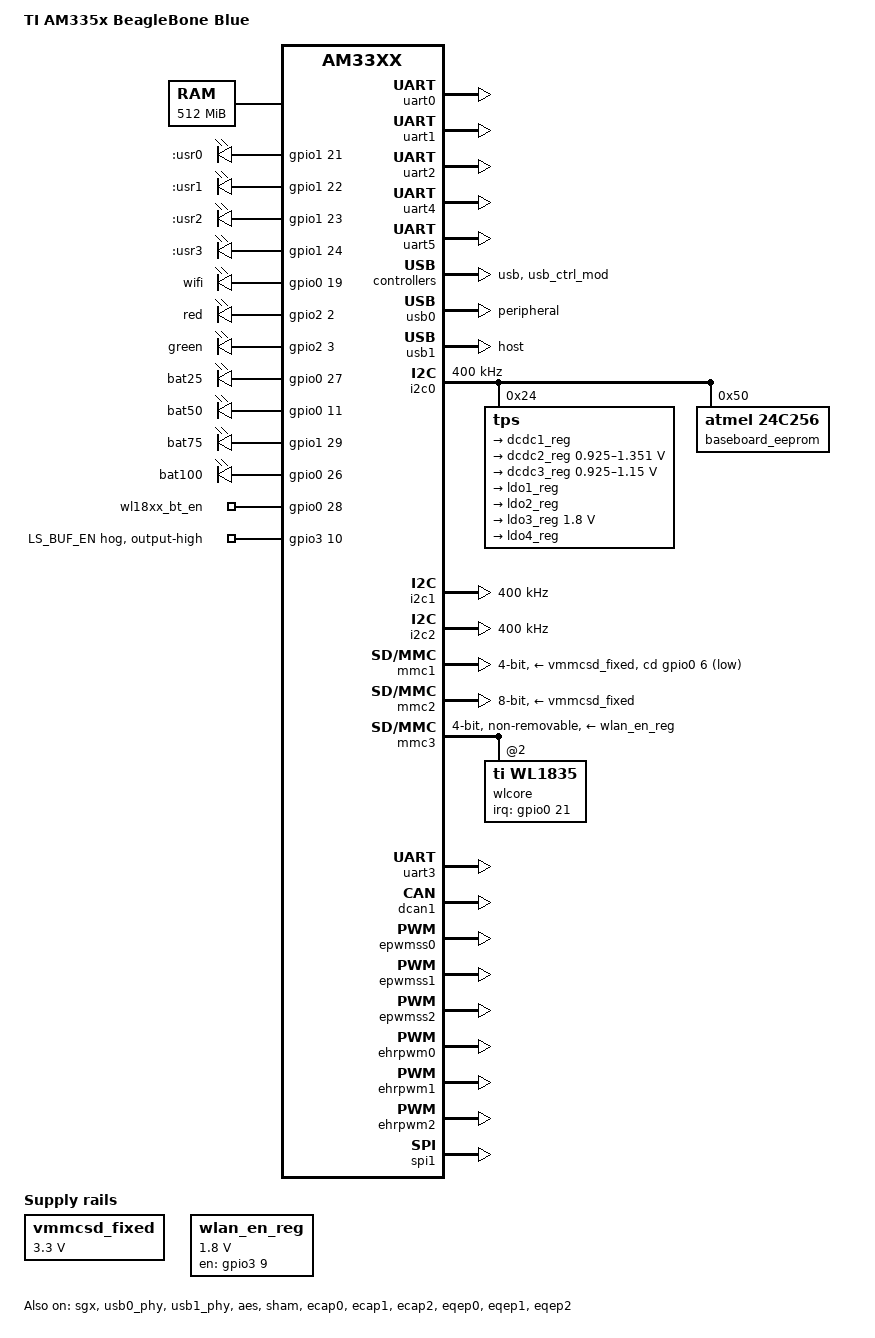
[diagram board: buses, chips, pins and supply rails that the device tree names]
// SPDX-License-Identifier: GPL-2.0-only
/*
 * am335x-AP-boneblue.dts
 * 
 * Copyright (C) 2012 Texas Instruments Incorporated - http://www.ti.com/
 */
/dts-v1/;

#include "am33xx.dtsi"
#include "am335x-uio-pruss.dtsi"
#include "am335x-boneblue-pins.dtsi"
#include <dt-bindings/interrupt-controller/irq.h>

/ {
	model = "TI AM335x BeagleBone Blue";
	compatible = "ti,am335x-bone-blue", "ti,am33xx";

	chosen {
		base_dtb = "am335x-boneblue.dts";
		base_dtb_timestamp = __TIMESTAMP__;
	};

	cpus {
		cpu@0 {
			cpu0-supply = <&dcdc2_reg>;
		};
	};

	memory@80000000 {
		device_type = "memory";
		reg = <0x80000000 0x20000000>; /* 512 MB */
	};

	chosen {
		stdout-path = &uart0;
	};

	leds {
		pinctrl-names = "default";
		pinctrl-0 = <&user_leds_s0>;

		compatible = "gpio-leds";

		usr_0_led {
			label = ":usr0";
			gpios = <&gpio1 21 GPIO_ACTIVE_HIGH>;
			linux,default-trigger = "none";  /* Ardupilot heartbeat on LED_RED */
			default-state = "off";
		};

		usr_1_led {
			label = ":usr1";
			gpios = <&gpio1 22 GPIO_ACTIVE_HIGH>;
			linux,default-trigger = "mmc0";
			default-state = "off";
		};

		usr_2_led {
			label = ":usr2";
			gpios = <&gpio1 23 GPIO_ACTIVE_HIGH>;
			linux,default-trigger = "activity";
			default-state = "off";
		};

		usr_3_led {
			label = ":usr3";
			gpios = <&gpio1 24 GPIO_ACTIVE_HIGH>;
			linux,default-trigger = "mmc1";
			default-state = "off";
		};

		wifi_led {
			label = "wifi";
			gpios = <&gpio0 19 GPIO_ACTIVE_HIGH>;
			default-state = "off";
			linux,default-trigger = "phy0assoc";
		};

		red_led {
			label = "red";
			gpios = <&gpio2 2 GPIO_ACTIVE_HIGH>;
			default-state = "off";
		};

		green_led {
			label = "green";
			gpios = <&gpio2 3 GPIO_ACTIVE_HIGH>;
			default-state = "off";
		};

		batt_1_led {
			label = "bat25";
			gpios = <&gpio0 27 GPIO_ACTIVE_HIGH>;
			default-state = "off";
		};

		batt_2_led {
			label = "bat50";
			gpios = <&gpio0 11 GPIO_ACTIVE_HIGH>;
			default-state = "off";
		};

		batt_3_led {
			label = "bat75";
			gpios = <&gpio1 29 GPIO_ACTIVE_HIGH>;
			default-state = "off";
		};

		batt_4_led {
			label = "bat100";
			gpios = <&gpio0 26 GPIO_ACTIVE_HIGH>;
			default-state = "off";
		};
	};

	vmmcsd_fixed: fixedregulator0 {
		compatible = "regulator-fixed";
		regulator-name = "vmmcsd_fixed";
		regulator-min-microvolt = <3300000>;
		regulator-max-microvolt = <3300000>;
	};

	wlan_en_reg: fixedregulator@2 {
		compatible = "regulator-fixed";
		regulator-name = "wlan-en-regulator";
		regulator-min-microvolt = <1800000>;
		regulator-max-microvolt = <1800000>;
		startup-delay-us= <70000>;

		/* WL_EN */
		gpio = <&gpio3 9 0>;
		enable-active-high;
	};

	bt_en {
		pinctrl-names = "default";
		pinctrl-0 = <&bt_pins>;
		compatible = "gpio-leds";

		wl18xx_bt_en {
			label = "wl18xx_bt_en";
			gpios = <&gpio0 28 GPIO_ACTIVE_HIGH>;
			default-state = "off";
		};
	};
};

&aliases {
	i2c0 = &i2c0;
	i2c1 = &i2c1;
	i2c2 = &i2c2;
	serial0 = &uart0;
	serial1 = &uart1;
	serial2 = &uart2;
	serial3 = &uart3;
	serial4 = &uart4;
	serial5 = &uart5;
	d-can0 = &dcan0;
	d-can1 = &dcan1;
	usb0 = &usb0;
	usb1 = &usb1;
	phy0 = &usb0_phy;
	phy1 = &usb1_phy;
	ethernet0 = &cpsw_emac0;
	ethernet1 = &cpsw_emac1;
	spi0 = &spi0;
	spi1 = &spi1;
};

&sgx {
	status = "okay";
};

&cpu0_opp_table {
	/*
	* Octavo Systems:
	* The EFUSE_SMA register is not programmed for any of the AM335x wafers
	* we get and we are not programming them during our production test.
	* Therefore, from a DEVICE_ID revision point of view, the silicon looks
	* like it is Revision 2.1.  However, from an EFUSE_SMA point of view for
	* the HW OPP table, the silicon looks like it is Revision 1.0 (ie the
	* EFUSE_SMA register reads as all zeros).
	*/
	oppnitro-1000000000 {
		opp-supported-hw = <0x06 0x0100>;
	};
};

&am33xx_pinmux {
	/*******************************************************/
	/* Static Pinmux                                       */
	/*******************************************************/
	mux_helper_pins: pins {
		pinctrl-single,pins = <

			/* GPIO Inputs with Pullup */
			/***************************************************/
			/* GPIO Inputs with Pullup                         */
			/* Name    Signal     Ball    Bone    GPIO  Config */
			/*         PAUSE_BTN  T6      P8_9    2_5   0x89C  */
			/*         Mode_BTN   U6      P8_10   2_4   0x898  */
			/*         IMU_INT    A14     P9_25   3_21  0x9AC  */
			/***************************************************/
			AM33XX_IOPAD(0x89C, PIN_INPUT_PULLUP | MUX_MODE7)
			AM33XX_IOPAD(0x898, PIN_INPUT_PULLUP | MUX_MODE7)
			AM33XX_IOPAD(0x9AC, PIN_INPUT_PULLUP | MUX_MODE7)

			/***************************************************/
			/* M1 to M4 Header : PWM Motor outputs             */
			/* Motors are controlled throuhg 2 dedicated       */
			/* drivers (H1, H2, Toshiba TB6612), 3 SIP signals */
			/* for each channel and a global enable signal     */
			/* Here, GPIO driven Direction signals             */
			/*                                                 */
			/* Name    Signal     Ball    Bone    GPIO  Config */
			/*         MOT_STBY   D14     P9_41   0_20  0x9B4  */
			/* M1      MDIR_1A    T13             2_0   0x888  */
			/*         MDIR_1B    U17     P9_13   0_31  0x874  */
			/*         PWM_1A     U14     P9_14   1_18  0x820  */
			/* M2      MDIR_2A    R13     P9_15   1_16  0x840  */
			/*         MDIR_2B    V4      P8_31   0_10  0x8D8  */
			/*         PWM_2A     T14     P9_16   1_19  0x824  */
			/* M3      MDIR_3A    R4      P8_44   2_9   0x8AC  */
			/*         MDIR_3B    R3      P8_43   2_8   0x8A8  */
			/*         PWM_3A     U10     P8_19   0_22  0x820  */
			/* M4      MDIR_4A    R1      P8_45   2_6   0x8A0  */
			/*         MDIR_4B    R2      P8_46   2_7   0x8A4  */
			/*         PWM_4A     T10     P8_13   0_22  0x824  */
			/***************************************************/
			AM33XX_IOPAD(0x9B4, PIN_OUTPUT | MUX_MODE7) /* MOT_STBY */
			AM33XX_IOPAD(0x888, PIN_OUTPUT | MUX_MODE7) /* MDIR_1A  */
			AM33XX_IOPAD(0x874, PIN_OUTPUT | MUX_MODE7) /* MDIR_1B  */
			AM33XX_IOPAD(0x840, PIN_OUTPUT | MUX_MODE7) /* MDIR_2A  */
			AM33XX_IOPAD(0x8D8, PIN_OUTPUT | MUX_MODE7) /* MDIR_2B  */
			AM33XX_IOPAD(0x8AC, PIN_OUTPUT | MUX_MODE7) /* MDIR_3A  */
			AM33XX_IOPAD(0x8A8, PIN_OUTPUT | MUX_MODE7) /* MDIR_3B  */
			AM33XX_IOPAD(0x8A0, PIN_OUTPUT | MUX_MODE7) /* MDIR_4A  */
			AM33XX_IOPAD(0x8A4, PIN_OUTPUT | MUX_MODE7) /* MDIR_4B  */

			/***************************************************/
			/* PRU encoder input                               */
			/* Name    Signal     Ball    Bone    GPIO  Config */
			/* E4_3    PRU_E_A    V13     P8_16   1_14  0x838  */
			/***************************************************/
			AM33XX_IOPAD(0x838, PIN_INPUT_PULLUP | MUX_MODE6)

			/***************************************************/
			/* PRU Servo pwm outputs and power rail Enable     */
			/*         Signal     Ball    Bone    GPIO  Config */
			/*         SVO1       U5      P8_27   2_22  0x8E0  */
			/*         SVO2       V5      P8_28   2_24  0x8E8  */
			/*         SVO3       R5      P8_29   2_23  0x8E4  */
			/*         SVO4       R6      P8_30   2_25  0x8EC  */
			/*         SVO5       T3      P8_39   2_12  0x8B8  */
			/*         SVO6       T4      P8_40   2_13  0x8BC  */
			/*         SVO7       T1      P8_41   2_10  0x8B0  */
			/*         SVO8       T2      P8_42   2_11  0x8B4  */
			/*         SERVO_EN   U3      P8_36   2_16  0x8C8  */
			/***************************************************/
			AM33XX_IOPAD(0x8E0, PIN_OUTPUT_PULLDOWN | MUX_MODE5)
			AM33XX_IOPAD(0x8E8, PIN_OUTPUT_PULLDOWN | MUX_MODE5)
			AM33XX_IOPAD(0x8E4, PIN_OUTPUT_PULLDOWN | MUX_MODE5)
			AM33XX_IOPAD(0x8EC, PIN_OUTPUT_PULLDOWN | MUX_MODE5)
			AM33XX_IOPAD(0x8B8, PIN_OUTPUT_PULLDOWN | MUX_MODE5)
			AM33XX_IOPAD(0x8BC, PIN_OUTPUT_PULLDOWN | MUX_MODE5)
			AM33XX_IOPAD(0x8B0, PIN_OUTPUT_PULLDOWN | MUX_MODE5)
			AM33XX_IOPAD(0x8B4, PIN_OUTPUT_PULLDOWN | MUX_MODE5)
			AM33XX_IOPAD(0x8C8, PIN_OUTPUT | MUX_MODE7)

			/***************************************************/
			/* WILINK 8                                        */
			/*         Signal     Ball    Bone    GPIO  Config */
			/*        MCASP0_FSR  C16             2_1   0x88C  */
			/*      MCASP0_ACLKR  C17             1_28  0x878  */
			/***************************************************/
			AM33XX_IOPAD(0x88C, PIN_OUTPUT | MUX_MODE7)
			AM33XX_IOPAD(0x878, PIN_OUTPUT | MUX_MODE7)
		>;
	};

	/***************************************************/
	/* Onboard Leds                                    */
	/*         Signal     Ball    Bone    GPIO  Config */
	/*         USR_LED_0  V15             1_21  0x854  */
	/*         USR_LED_1  U15             1_22  0x858  */
	/*         USR_LED_2  T15             1_23  0x85C  */
	/*         USR_LED_3  V16             1_24  0x860  */
	/*         WIFI_LED   A15             0_19  0x9B0  */
	/*         LED_RED    R7              2_2   0x890  */
	/*         LED_GRN    T7              2_3   0x894  */
	/*         BATT_LED_1 U12             0_27  0x82C  */
	/*         BATT_LED_2 T5              0_11  0x8DC  */
	/*         BATT_LED_3 V6              1_29  0x87C  */
	/*         BATT_LED_4 T11             0_26  0x828  */
	/***************************************************/
	user_leds_s0: user_leds_s0 {
		pinctrl-single,pins = <
			AM33XX_IOPAD(0x854, PIN_OUTPUT | MUX_MODE7)
			AM33XX_IOPAD(0x858, PIN_OUTPUT | MUX_MODE7)
			AM33XX_IOPAD(0x85C, PIN_OUTPUT | MUX_MODE7)
			AM33XX_IOPAD(0x860, PIN_OUTPUT | MUX_MODE7)
			AM33XX_IOPAD(0x9B0, PIN_OUTPUT | MUX_MODE7)
			AM33XX_IOPAD(0x890, PIN_OUTPUT | MUX_MODE7)
			AM33XX_IOPAD(0x894, PIN_OUTPUT | MUX_MODE7)
			AM33XX_IOPAD(0x82C, PIN_OUTPUT | MUX_MODE7)
			AM33XX_IOPAD(0x8dC, PIN_OUTPUT | MUX_MODE7)
			AM33XX_IOPAD(0x87C, PIN_OUTPUT | MUX_MODE7)
			AM33XX_IOPAD(0x828, PIN_OUTPUT | MUX_MODE7)
		>;
	};

	/***************************************************/
	/* I2C Bus 0                                       */
	/* Onboard 24LC32A 32K serial E2PROM and SIP PMIC  */
	/*         Signal     Ball    Bone    GPIO  Config */
	/*         I2C0_SCL   C16             3_6   0x98C  */
	/*         I2C0_SDA   C17             3_5   0x988  */
	/***************************************************/
	i2c0_pins: pinmux_i2c0_pins {
		pinctrl-single,pins = <
			AM33XX_IOPAD(0x98C, PIN_INPUT_PULLUP | MUX_MODE0)
			AM33XX_IOPAD(0x988, PIN_INPUT_PULLUP | MUX_MODE0)
		>;
	};

	/***************************************************/
	/* I2C Header : I2C Bus 1                          */
	/* Name    Signal     Ball    Bone    GPIO  Config */
	/* I2C_1   GND                                     */
	/* I2C_2   3.3V                                    */
	/* I2C_3   I2C1_SCL   A16     P9_17   0_5    0x95C */
	/* I2C_4   I2C1_SDA   B16     P9_18   0_4    0x958 */
	/***************************************************/
	i2c1_pins: pinmux_i2c1_pins {
		pinctrl-single,pins = <
			AM33XX_IOPAD(0x95C, PIN_INPUT_PULLUP | MUX_MODE2)
			AM33XX_IOPAD(0x958, PIN_INPUT_PULLUP | MUX_MODE2)
		>;
	};

	/***************************************************/
	/* IMU and BMP280 : I2C Bus 2                      */
	/* Name    Signal     Ball    Bone    GPIO  Config */
	/*         I2C2_SCL   D17     P9_19   0_13  0x97C  */
	/*         I2C2_SDA   D18     P9_20   0_12  0x978  */
	/***************************************************/
	i2c2_pins: pinmux_i2c2_pins {
		pinctrl-single,pins = <
			AM33XX_IOPAD(0x97C, PIN_INPUT_PULLUP | MUX_MODE3)
			AM33XX_IOPAD(0x978, PIN_INPUT_PULLUP | MUX_MODE3)
		>;
	};

	/***************************************************/
	/* UT0 Header : Serial port 0                      */
	/* Name    Signal     Ball    Bone    GPIO  Config */
	/* UT0_1   GND                                     */
	/* UT0_2   3.3V                                    */
	/* UT0_3   UART0_RX   E15             1_10  0x970  */
	/* UT0_4   UART0_TX   E16             1_11  0x974  */
	/***************************************************/
	uart0_pins: pinmux_uart0_pins {
		pinctrl-single,pins = <
			AM33XX_IOPAD(0x970, PIN_INPUT_PULLUP | MUX_MODE0)
			AM33XX_IOPAD(0x974, PIN_OUTPUT_PULLDOWN | MUX_MODE0)
		>;
	};

	/***************************************************/
	/* UT5 Header : Serial port 5                      */
	/* Name    Signal     Ball    Bone    GPIO  Config */
	/* UT5_1   GND                                     */
	/* UT5_2   3.3V                                    */
	/* UT5_3   UART5_RX   U2              2_15  0x8C4  */
	/* UT5_4   UART5_TX   U1              2_14  0x8C0  */
	/***************************************************/
	uart5_pins: pinmux_uart5_pins {
		pinctrl-single,pins = <
			AM33XX_IOPAD(0x8C4, PIN_INPUT_PULLUP | MUX_MODE4)
			AM33XX_IOPAD(0x8C0, PIN_OUTPUT_PULLDOWN | MUX_MODE4)
		>;
	};

	/***************************************************/
	/* mmc1 pins (SDCard Detect)                       */
	/*         Signal     Ball    Bone    GPIO  Config */
	/*         MMC0_CD    C15             0_6   0x960  */
	/***************************************************/
	mmc1_pins: pinmux_mmc1_pins {
		pinctrl-single,pins = <
			AM33XX_IOPAD(0x960, PIN_INPUT | MUX_MODE7)
		>;
	};

	/***************************************************/
	/* mmc2 pins (onboard Flash)                       */
	/*         Signal     Ball    Bone    GPIO  Config */
	/*         MMC1_CLK   U9      P8_21   1_30  0x880  */
	/*         MMC1_CMD   V9      P8_20   1_31  0x884  */
	/*         MMC1_DAT0  U7      P8_25   1_0   0x800  */
	/*         MMC1_DAT1  V7      P8_24   1_1   0x804  */
	/*         MMC1_DAT2  R8      P8_05   1_2   0x808  */
	/*         MMC1_DAT3  T8      P8_06   1_3   0x80C  */
	/*         MMC1_DAT4  U8      P8_23   1_4   0x810  */
	/*         MMC1_DAT5  V8      P8_22   1_5   0x814  */
	/*         MMC1_DAT6  R9      P8_03   1_6   0x818  */
	/*         MMC1_DAT7  T9      P8_04   1_7   0x81C  */
	/***************************************************/
	mmc2_pins: pinmux_mmc2_pins {
		pinctrl-single,pins = <
			AM33XX_IOPAD(0x880, PIN_INPUT_PULLUP | MUX_MODE2)
			AM33XX_IOPAD(0x884, PIN_INPUT_PULLUP | MUX_MODE2)
			AM33XX_IOPAD(0x800, PIN_INPUT_PULLUP | MUX_MODE1)
			AM33XX_IOPAD(0x804, PIN_INPUT_PULLUP | MUX_MODE1)
			AM33XX_IOPAD(0x808, PIN_INPUT_PULLUP | MUX_MODE1)
			AM33XX_IOPAD(0x80C, PIN_INPUT_PULLUP | MUX_MODE1)
			AM33XX_IOPAD(0x810, PIN_INPUT_PULLUP | MUX_MODE1)
			AM33XX_IOPAD(0x814, PIN_INPUT_PULLUP | MUX_MODE1)
			AM33XX_IOPAD(0x818, PIN_INPUT_PULLUP | MUX_MODE1)
			AM33XX_IOPAD(0x81C, PIN_INPUT_PULLUP | MUX_MODE1)
		>;
	};
	/***************************************************/
	/* mmc3 pins (SDIO mode for Wireless Chip)         */
	/*         Signal     Ball    Bone    GPIO  Config */
	/*         MMC2_CLK   L15             2_20  0x93C  */
	/*         MMC2_CMD   J16             3_3   0x914  */
	/*         MMC2_DAT0  J17             3_4   0x918  */
	/*         MMC2_DAT1  J18             0_16  0x91C  */
	/*         MMC2_DAT2  K15             0_17  0x920  */
	/*         MMC2_DAT3  H16             3_0   0x908  */
	/***************************************************/
	mmc3_pins: pinmux_mmc3_pins {
		pinctrl-single,pins = <
			AM33XX_IOPAD(0x93C, PIN_INPUT_PULLUP | MUX_MODE6)
			AM33XX_IOPAD(0x914, PIN_INPUT_PULLUP | MUX_MODE6)
			AM33XX_IOPAD(0x918, PIN_INPUT_PULLUP | MUX_MODE5)
			AM33XX_IOPAD(0x91C, PIN_INPUT_PULLUP | MUX_MODE5)
			AM33XX_IOPAD(0x920, PIN_INPUT_PULLUP | MUX_MODE5)
			AM33XX_IOPAD(0x908, PIN_INPUT_PULLUP | MUX_MODE5)
		>;
	};

	/***************************************************/
	/* BlueTooth enable                                */
	/*         Signal     Ball    Bone    GPIO  Config */
	/*         BT_EN      K17             0_28  0x928  */
	/***************************************************/
	bt_pins: pinmux_bt_pins {
		pinctrl-single,pins = <
			AM33XX_IOPAD(0x928, PIN_OUTPUT_PULLUP | MUX_MODE7)
		>;
	};

	/***************************************************/
	/* Wireless pins                                   */
	/*         Signal     Ball    Bone    GPIO  Config */
	/*         WL_EN      K18             3_9   0x92C  */
	/*         WL_IRQ     K16             0_21  0x924  */
	/*         LS_BUF_EN  L18             3_10  0x930  */
	/***************************************************/
	wl18xx_pins: pinmux_wl18xx_pins {
		pinctrl-single,pins = <
			AM33XX_IOPAD(0x92C, PIN_OUTPUT_PULLDOWN | MUX_MODE7)
			AM33XX_IOPAD(0x924, PIN_INPUT_PULLUP | MUX_MODE7)
			AM33XX_IOPAD(0x930, PIN_OUTPUT_PULLUP | MUX_MODE7)
		>;
	};

	/***************************************************/
	/* UART3 pins (for wireless chip, uart mode)       */
	/*         Signal     Ball    Bone    GPIO  Config */
	/*         UART3_RX   L17             2_18  0x934  */
	/*         UART3_TX   L16             2_19  0x938  */
	/*         UART3_CTSN M17             0_0   0x948  */
	/*         UART3_RTSN M18             0_1   0x94C  */
	/***************************************************/
	uart3_pins: pinmux_uart3_pins {
		pinctrl-single,pins = <
			AM33XX_IOPAD(0x934, PIN_INPUT_PULLUP | MUX_MODE1)
			AM33XX_IOPAD(0x938, PIN_OUTPUT_PULLDOWN | MUX_MODE1)
			AM33XX_IOPAD(0x948, PIN_INPUT | MUX_MODE3)
			AM33XX_IOPAD(0x94C, PIN_OUTPUT_PULLDOWN | MUX_MODE3)
		>;
	};

	/***************************************************/
	/* CAN Header : CAN Bus                            */
	/* Name    Signal     Ball    Bone    GPIO  Config */
	/* UT5_1   GND                                     */
	/* UT5_2   3.3V                                    */
	/* UT5_3   CANH                                    */
	/* UT5_4   CANL                                    */
	/*  CAN Bus is connected to the SIP through the    */
	/*  TCAN1051HV Transceiver                         */
	/*         DCAN1_RX   E17             1_9    0x96C */
	/*         DCAN1_TX   E18             1_8    0x968 */
	/*     DCAN1_SILENT   M16             2_21   0x940 */
	/***************************************************/
	dcan1_pins: pinmux_dcan1_pins {
		pinctrl-single,pins = <
			AM33XX_IOPAD(0x96C, PIN_INPUT | MUX_MODE2)
			AM33XX_IOPAD(0x968, PIN_OUTPUT | MUX_MODE2)
			AM33XX_IOPAD(0x940, PIN_OUTPUT | MUX_MODE7)
		>;
	};

	/***************************************************/
	/* M1 to M4 Header : PWM Motor outputs             */
	/* Motors are controlled throuhg 2 dedicated       */
	/* drivers (H1, H2, Toshiba TB6612), 3 SIP signals */
	/* for each channel and a global enable signal     */
	/* Here, PWM signals                               */
	/*                                                 */
	/* Name    Signal     Ball    Bone    GPIO  Config */
	/*         MOT_STBY   D14     P9_41   0_20  0x9B4  */
	/* M1      MDIR_1A    T13             2_0   0x888  */
	/*         MDIR_1B    U17     P9_13   0_31  0x874  */
	/*         PWM_1A     U14     P9_14   1_18  0x848  */
	/* M2      MDIR_2A    R13     P9_15   1_16  0x840  */
	/*         MDIR_2B    V4      P8_31   0_10  0x8D8  */
	/*         PWM_2A     T14     P9_16   1_19  0x84C  */
	/* M3      MDIR_3A    R4      P8_44   2_9   0x8AC  */
	/*         MDIR_3B    R3      P8_43   2_8   0x8A8  */
	/*         PWM_3A     U10     P8_19   0_22  0x820  */
	/* M4      MDIR_4A    R1      P8_45   2_6   0x8A0  */
	/*         MDIR_4B    R2      P8_46   2_7   0x8A4  */
	/*         PWM_4A     T10     P8_13   0_22  0x824  */
	/***************************************************/
	/*         PWM_3A     U10     P8_19   0_22  0x820  */
	/* and     PWM_4A     T10     P8_13   0_22  0x824  */
	ehrpwm1_pins: pinmux_ehrpwm1_pins {
		pinctrl-single,pins = <
			AM33XX_IOPAD(0x820, PIN_INPUT_PULLDOWN | MUX_MODE4)
			AM33XX_IOPAD(0x824, PIN_INPUT_PULLDOWN | MUX_MODE4)
		>;
	};
	/*         PWM_1A     U14     P9_14   1_18  0x848  */
	/* and     PWM_2A     T14     P9_16   1_19  0x84C  */
	ehrpwm2_pins: pinmux_ehrpwm2_pins {
		pinctrl-single,pins = <
			AM33XX_IOPAD(0x848, PIN_INPUT_PULLDOWN | MUX_MODE6)
			AM33XX_IOPAD(0x84C, PIN_INPUT_PULLDOWN | MUX_MODE6)
		>;
	};

	/***************************************************/
	/* E1 to E4 Headers : Quadrature encoder inputs    */
	/* Motors are controlled throuhg 2 dedicated       */
	/* drivers (H1, H2, Toshiba TB6612), 3 SIP signals */
	/* for each channel and a global enable signal     */
	/*                                                 */
	/* Name    Signal     Ball    Bone    GPIO  Config */
	/* E1      EQEP_0A    B12     P9_92   3_18  0x9A0  */
	/*         EQEP_0B    C13     P9_27   3_19  0x9A4  */
	/* E2      EQEP_1A    V2      P8_35   0_8   0x8D0  */
	/*         EQEP_1B    V3      P8_33   0_9   0x8D4  */
	/* E3      EQEP_2A    T12     P8_12   1_12  0x830  */
	/*         EQEP_2B    R12     P8_11   1_13  0x834  */
	/* E4      PRU_E_A    V13     P8_16   1_14  0x038  */
	/*         PRU_E_B    U13     P8_15   1_15  0x03C  */
	/***************************************************/
	/* E1      EQEP_0A    B12     P9_92   3_18  0x9a0  */
	/* and     EQEP_0B    C13     P9_27   3_19  0x9A4  */
	eqep0_pins: pinmux_eqep0_pins {
		pinctrl-single,pins = <
			AM33XX_IOPAD(0x9A0, PIN_INPUT_PULLDOWN | MUX_MODE1)
			AM33XX_IOPAD(0x9A4, PIN_INPUT_PULLDOWN | MUX_MODE1)
		>;
	};

	/* E2      EQEP_1A    V2      P8_35   0_8   0x8D0  */
	/* and     EQEP_1B    V3      P8_33   0_9   0x8D4  */
	eqep1_pins: pinmux_eqep1_pins {
		pinctrl-single,pins = <
			AM33XX_IOPAD(0x8D0, PIN_INPUT_PULLDOWN | MUX_MODE2)
			AM33XX_IOPAD(0x8D4, PIN_INPUT_PULLDOWN | MUX_MODE2)
		>;
	};

	/* E3      EQEP_2A    T12     P8_12   1_12  0x830  */
	/* and     EQEP_2B    R12     P8_11   1_13  0x834  */
	eqep2_pins: pinmux_eqep2_pins {
		pinctrl-single,pins = <
			AM33XX_IOPAD(0x830, PIN_INPUT_PULLDOWN | MUX_MODE4)
			AM33XX_IOPAD(0x834, PIN_INPUT_PULLDOWN | MUX_MODE4)
		>;
	};
};  /* END of am33xx_pinmux definitions */

&uart0 {
	pinctrl-names = "default";
	pinctrl-0 = <&uart0_pins>;
	status = "okay";
};

&uart1 {
	status = "okay";
};

&uart2 {
	status = "okay";
};

&uart4 {
	pinctrl-names = "default";
	status = "okay";
};

&uart5 {
	pinctrl-names = "default";
	pinctrl-0 = <&uart5_pins>;
	status = "okay";
};

&usb {
	status = "okay";
};

&usb_ctrl_mod {
	status = "okay";
};

&usb0_phy {
	status = "okay";
};

&usb1_phy {
	status = "okay";
};

&usb0 {
	status = "okay";
	dr_mode = "peripheral";
	interrupts-extended = <&intc 18 &tps 0>;
	interrupt-names = "mc", "vbus";
};

&usb1 {
	status = "okay";
	dr_mode = "host";
};

&cppi41dma  {
	status = "okay";
};

&i2c0 {
	pinctrl-names = "default";
	pinctrl-0 = <&i2c0_pins>;

	status = "okay";
	clock-frequency = <400000>;

	tps: tps@24 {
		reg = <0x24>;
	};

	baseboard_eeprom: baseboard_eeprom@50 {
		compatible = "atmel,24c256";
		reg = <0x50>;

		#address-cells = <1>;
		#size-cells = <1>;
		baseboard_data: baseboard_data@0 {
			reg = <0 0x100>;
		};
	};
};

&i2c1 {
	pinctrl-names = "default";
	pinctrl-0 = <&i2c1_pins>;
	status = "okay";
	clock-frequency = <400000>;
};

&i2c2 {
	pinctrl-names = "default";
	pinctrl-0 = <&i2c2_pins>;

	status = "okay";
	clock-frequency = <400000>;
};

/include/ "tps65217.dtsi"

&tps {
	interrupts = <7>; /* NMI */
	interrupt-parent = <&intc>;

	ti,pmic-shutdown-controller;

	charger {
		interrupts = <0>, <1>;
		interrupt-names = "USB", "AC";
		status = "okay";
	};

	pwrbutton {
		interrupts = <2>;
		status = "okay";
	};

	regulators {
		dcdc1_reg: regulator@0 {
			regulator-name = "vdds_dpr";
			regulator-always-on;
		};

		dcdc2_reg: regulator@1 {
			/* VDD_MPU voltage limits 0.95V - 1.26V with +/-4% tolerance */
			regulator-name = "vdd_mpu";
			regulator-min-microvolt = <925000>;
			regulator-max-microvolt = <1351500>;
			regulator-boot-on;
			regulator-always-on;
		};

		dcdc3_reg: regulator@2 {
			/* VDD_CORE voltage limits 0.95V - 1.1V with +/-4% tolerance */
			regulator-name = "vdd_core";
			regulator-min-microvolt = <925000>;
			regulator-max-microvolt = <1150000>;
			regulator-boot-on;
			regulator-always-on;
		};

		ldo1_reg: regulator@3 {
			regulator-name = "vio,vrtc,vdds";
			regulator-always-on;
		};

		ldo2_reg: regulator@4 {
			regulator-name = "vdd_3v3aux";
			regulator-always-on;
		};

		ldo3_reg: regulator@5 {
			regulator-name = "vdd_1v8";
			regulator-min-microvolt = <1800000>;
			regulator-max-microvolt = <1800000>;
			regulator-always-on;
		};

		ldo4_reg: regulator@6 {
			regulator-name = "vdd_3v3a";
			regulator-always-on;
		};
	};
};

&mmc1 {
	status = "okay";
	vmmc-supply = <&vmmcsd_fixed>;
	bus-width = <4>;
	pinctrl-names = "default";
	pinctrl-0 = <&mmc1_pins>;
	cd-gpios = <&gpio0 6 GPIO_ACTIVE_LOW>;
};

&mmc2 {
	status = "okay";
	vmmc-supply = <&vmmcsd_fixed>;
	bus-width = <8>;
	pinctrl-names = "default";
	pinctrl-0 = <&mmc2_pins>;
};

&mmc3 {
	dmas = <&edma_xbar 12 0 1
		&edma_xbar 13 0 2>;
	dma-names = "tx", "rx";
	status = "okay";
	vmmc-supply = <&wlan_en_reg>;
	bus-width = <4>;
	non-removable;
	cap-power-off-card;
	ti,needs-special-hs-handling;
	keep-power-in-suspend;
	pinctrl-names = "default";
	pinctrl-0 = <&mmc3_pins &wl18xx_pins>;

	#address-cells = <1>;
	#size-cells = <0>;
	wlcore: wlcore@2 {
		compatible = "ti,wl1835";
		reg = <2>;
		interrupt-parent = <&gpio0>;
		interrupts = <21 IRQ_TYPE_EDGE_RISING>;
	};
};

//&tscadc {
//	status = "okay";
//	adc {
//		ti,adc-channels = <0 1 2 3 4 5 6 7>;
//	};
//};

&uart3 {
	pinctrl-names = "default";
	//pinctrl-0 = <&uart3_pins &bt_pins>;
	pinctrl-0 = <&uart3_pins>;
	status = "okay";

//	bluetooth {
//		compatible = "ti,wl1835-st";
//		enable-gpios = <&gpio0 28 GPIO_ACTIVE_HIGH>;
//	};
};

&aes {
	status = "okay";
};

&sham {
	status = "okay";
};

&rtc {
	system-power-controller;
};

&wkup_m3_ipc {
	ti,scale-data-fw = "am335x-bone-scale-data.bin";
};

//&pruss_soc_bus {
//	status = "okay";
//
//	pruss: pruss@4a300000 {
//		status = "okay";
//	};
//};

&dcan1 {
	pinctrl-names = "default";
	pinctrl-0 = <&dcan1_pins>;
	status = "okay";
};

&gpio3 {
	ls_buf_en {
		gpio-hog;
		gpios = <10 GPIO_ACTIVE_HIGH>;
		output-high;
		line-name = "LS_BUF_EN";
	};
};

&ocp {
	/* activate the static pinmux helper list of pin modes above */
	test_helper: helper {
		compatible = "bone-pinmux-helper";
		pinctrl-names = "default";
		pinctrl-0 = <&mux_helper_pins>;

		status = "okay";
	};

	/* UART2 RX GPS Header, pin 3 */
	GPS_3_pinmux {
		compatible = "bone-pinmux-helper";
		status = "okay";
		pinctrl-names = "default", "gpio", "gpio_pu", "gpio_pd", "spi", "uart", "i2c", "pwm";
		pinctrl-0 = <&GPS_3_uart_pin>;
		pinctrl-1 = <&GPS_3_gpio_pin>;
		pinctrl-2 = <&GPS_3_gpio_pu_pin>;
		pinctrl-3 = <&GPS_3_gpio_pd_pin>;
		pinctrl-4 = <&GPS_3_spi_pin>;
		pinctrl-5 = <&GPS_3_uart_pin>;
		pinctrl-6 = <&GPS_3_i2c_pin>;
		pinctrl-7 = <&GPS_3_pwm_pin>;
	};
	/* UART2 TX GPS header, pin 4 */
	GPS_4_pinmux {
		compatible = "bone-pinmux-helper";
		status = "okay";
		pinctrl-names = "default", "gpio", "gpio_pu", "gpio_pd", "spi", "uart", "i2c", "pwm";
		pinctrl-0 = <&GPS_4_uart_pin>;
		pinctrl-1 = <&GPS_4_gpio_pin>;
		pinctrl-2 = <&GPS_4_gpio_pu_pin>;
		pinctrl-3 = <&GPS_4_gpio_pd_pin>;
		pinctrl-4 = <&GPS_4_spi_pin>;
		pinctrl-5 = <&GPS_4_uart_pin>;
		pinctrl-6 = <&GPS_4_i2c_pin>;
		pinctrl-7 = <&GPS_4_pwm_pin>;
	};

	/* UART1 RX UT1 Header, pin 3 */
	UT1_3_pinmux {
		compatible = "bone-pinmux-helper";
		status = "okay";
		pinctrl-names = "default", "gpio", "gpio_pu", "gpio_pd", "uart", "can", "i2c",  "pruin";
		pinctrl-0 = <&UT1_3_uart_pin>;
		pinctrl-1 = <&UT1_3_gpio_pin>;
		pinctrl-2 = <&UT1_3_gpio_pu_pin>;
		pinctrl-3 = <&UT1_3_gpio_pd_pin>;
		pinctrl-4 = <&UT1_3_uart_pin>;
		pinctrl-5 = <&UT1_3_can_pin>;
		pinctrl-6 = <&UT1_3_i2c_pin>;
		pinctrl-7 = <&UT1_3_pruin_pin>;
	};
	/* UART1 TX UT1 Header, pin 4 */
	 UT1_4_pinmux {
		compatible = "bone-pinmux-helper";
		status = "okay";
		pinctrl-names = "default", "gpio", "gpio_pu", "gpio_pd", "uart", "can", "i2c",  "pruin";
		pinctrl-0 = <&UT1_4_uart_pin>;
		pinctrl-1 = <&UT1_4_gpio_pin>;
		pinctrl-2 = <&UT1_4_gpio_pu_pin>;
		pinctrl-3 = <&UT1_4_gpio_pd_pin>;
		pinctrl-4 = <&UT1_4_uart_pin>;
		pinctrl-5 = <&UT1_4_can_pin>;
		pinctrl-6 = <&UT1_4_i2c_pin>;
		pinctrl-7 = <&UT1_4_pruin_pin>;
	};

	/* SPI1 MOSI S1.1 and S1.2 Headers, pin 3 */
	S1X_3_pinmux {
		compatible = "bone-pinmux-helper";
		status = "okay";
		pinctrl-names = "default", "gpio", "gpio_pu", "gpio_pd", "pwm", "spi", "pruout", "pruin";
		pinctrl-0 = <&S1X_3_spi_pin>;
		pinctrl-1 = <&S1X_3_gpio_pin>;
		pinctrl-2 = <&S1X_3_gpio_pu_pin>;
		pinctrl-3 = <&S1X_3_gpio_pd_pin>;
		pinctrl-4 = <&S1X_3_pwm_pin>;
		pinctrl-5 = <&S1X_3_spi_pin>;
		pinctrl-6 = <&S1X_3_pruout_pin>;
		pinctrl-7 = <&S1X_3_pruin_pin>;
	};

	/* SPI1 MISO S1.1 and S1.2 Headers, pin 4 */
	S1X_4_pinmux {
		compatible = "bone-pinmux-helper";
		status = "okay";
		pinctrl-names = "default", "gpio", "gpio_pu", "gpio_pd", "pwm", "spi", "pruout", "pruin";
		pinctrl-0 = <&S1X_4_spi_pin>;
		pinctrl-1 = <&S1X_4_gpio_pin>;
		pinctrl-2 = <&S1X_4_gpio_pu_pin>;
		pinctrl-3 = <&S1X_4_gpio_pd_pin>;
		pinctrl-4 = <&S1X_4_pwm_pin>;
		pinctrl-5 = <&S1X_4_spi_pin>;
		pinctrl-6 = <&S1X_4_pruout_pin>;
		pinctrl-7 = <&S1X_4_pruin_pin>;
	};

	/* SPI1 SCK S1.1 and S1.2 Headers, pin 5 */
	S1X_5_pinmux {
		compatible = "bone-pinmux-helper";
		status = "okay";
		pinctrl-names = "default", "gpio", "gpio_pu", "gpio_pd", "pwm", "spi", "spi_sclk", "pruout", "pruin";
		pinctrl-0 = <&S1X_5_spi_sclk_pin>;
		pinctrl-1 = <&S1X_5_gpio_pin>;
		pinctrl-2 = <&S1X_5_gpio_pu_pin>;
		pinctrl-3 = <&S1X_5_gpio_pd_pin>;
		pinctrl-4 = <&S1X_5_pwm_pin>;
		pinctrl-5 = <&S1X_5_spi_pin>;
		pinctrl-6 = <&S1X_5_spi_sclk_pin>;
		pinctrl-7 = <&S1X_5_pruout_pin>;
		pinctrl-8 = <&S1X_5_pruin_pin>;
	};

	/* Encoder 4 E4 Header, pin 4 PRU_E_B (U13, P8_15, GPIO1_15) */
	E4_4_pinmux {
		compatible = "bone-pinmux-helper";
		status = "okay";
		pinctrl-names = "default", "pruin_pu", "gpio", "gpio_pu", "gpio_pd", "pruin", "qep", "pruecapin_pu";
		pinctrl-0 = <&E4_4_pruin_pu_pin>;
		pinctrl-1 = <&E4_4_pruin_pu_pin>;
		pinctrl-2 = <&E4_4_gpio_pin>;
		pinctrl-3 = <&E4_4_gpio_pu_pin>;
		pinctrl-4 = <&E4_4_gpio_pd_pin>;
		pinctrl-5 = <&E4_4_pruin_pin>;
		pinctrl-6 = <&E4_4_qep_pin>;
		pinctrl-7 = <&E4_4_pruecapin_pu_pin>;
	};

	/* UART4 RX DSM */
	DSM2_1_pinmux {
		compatible = "bone-pinmux-helper";
		status = "okay";
		pinctrl-names = "default", "uart", "gpio", "gpio_pu", "gpio_pd";
		pinctrl-0 = <&DSM2_1_uart_pin>;
		pinctrl-1 = <&DSM2_1_uart_pin>;
		pinctrl-2 = <&DSM2_1_gpio_pin>;
		pinctrl-3 = <&DSM2_1_gpio_pu_pin>;
		pinctrl-4 = <&DSM2_1_gpio_pd_pin>;
	};

	/* GP0 Header, pin 3 GPIO1_25 (U16) */
	GP0_3_pinmux {
		compatible = "bone-pinmux-helper";
		status = "okay";
		pinctrl-names = "default", "gpio", "gpio_pu", "gpio_pd";
		pinctrl-0 = <&GP0_3_default_pin>;
		pinctrl-1 = <&GP0_3_gpio_pin>;
		pinctrl-2 = <&GP0_3_gpio_pu_pin>;
		pinctrl-3 = <&GP0_3_gpio_pd_pin>;
	};
	/* GP0 Header, pin 4 GPIO1_17 (V14, P9_23) */
	GP0_4_pinmux {
		compatible = "bone-pinmux-helper";
		status = "okay";
		pinctrl-names = "default", "gpio", "gpio_pu", "gpio_pd", "pwm";
		pinctrl-0 = <&GP0_4_default_pin>;
		pinctrl-1 = <&GP0_4_gpio_pin>;
		pinctrl-2 = <&GP0_4_gpio_pu_pin>;
		pinctrl-3 = <&GP0_4_gpio_pd_pin>;
		pinctrl-4 = <&GP0_4_pwm_pin>;
	};
	/* GP0 Header, pin 5 GPIO3_20 (D13, P9_91) */
	GP0_5_pinmux {
		compatible = "bone-pinmux-helper";
		status = "okay";
		pinctrl-names = "default", "gpio", "gpio_pu", "gpio_pd";
		pinctrl-0 = <&GP0_5_default_pin>;
		pinctrl-1 = <&GP0_5_gpio_pin>;
		pinctrl-2 = <&GP0_5_gpio_pu_pin>;
		pinctrl-3 = <&GP0_5_gpio_pd_pin>;
	};
	/* GP0 Header, pin 6 GPIO3_17 (C1, P9_28) */
	GP0_6_pinmux {
		compatible = "bone-pinmux-helper";
		status = "okay";
		pinctrl-names = "default", "gpio", "gpio_pu", "gpio_pd", "pwm", "spi", "spi_cs", "pwm2", "pruout", "pruin";
		pinctrl-0 = <&GP0_6_default_pin>;
		pinctrl-1 = <&GP0_6_gpio_pin>;
		pinctrl-2 = <&GP0_6_gpio_pu_pin>;
		pinctrl-3 = <&GP0_6_gpio_pd_pin>;
		pinctrl-4 = <&GP0_6_pwm_pin>;
		pinctrl-5 = <&GP0_6_spi_pin>;
		pinctrl-6 = <&GP0_6_spi_cs_pin>;
		pinctrl-7 = <&GP0_6_pwm2_pin>;
		pinctrl-8 = <&GP0_6_pruout_pin>;
		pinctrl-9 = <&GP0_6_pruin_pin>;
	};
	/* GP1 Header, pin 3 GPIO3_2 (J15) */
	GP1_3_pinmux {
		compatible = "bone-pinmux-helper";
		status = "okay";
		pinctrl-names = "default", "gpio", "gpio_pu", "gpio_pd";
		pinctrl-0 = <&GP1_3_default_pin>;
		pinctrl-1 = <&GP1_3_gpio_pin>;
		pinctrl-2 = <&GP1_3_gpio_pu_pin>;
		pinctrl-3 = <&GP1_3_gpio_pd_pin>;
	};
	/* GP1 Header, pin 4 GPIO3_1 (H17) */
	GP1_4_pinmux {
		compatible = "bone-pinmux-helper";
		status = "okay";
		pinctrl-names = "default", "gpio", "gpio_pu", "gpio_pd";
		pinctrl-0 = <&GP1_4_default_pin>;
		pinctrl-1 = <&GP1_4_gpio_pin>;
		pinctrl-2 = <&GP1_4_gpio_pu_pin>;
		pinctrl-3 = <&GP1_4_gpio_pd_pin>;
	};

	/* S1.1 Header, pin 6 SPI1_SS1 (H18) */
	S11_6_pinmux {
		compatible = "bone-pinmux-helper";
		status = "okay";
		pinctrl-names = "default", "gpio", "gpio_pu", "gpio_pd", "spi";
		pinctrl-0 = <&S11_6_spi_pin>;
		pinctrl-1 = <&S11_6_gpio_pin>;
		pinctrl-2 = <&S11_6_gpio_pu_pin>;
		pinctrl-3 = <&S11_6_gpio_pd_pin>;
		pinctrl-4 = <&S11_6_spi_pin>;
	};
	/* S1.2 Header, pin 6 SPI1_SS2 (C18) */
	S12_6_pinmux {
		compatible = "bone-pinmux-helper";
		status = "okay";
		pinctrl-names = "default", "gpio", "gpio_pu", "gpio_pd", "spi";
		pinctrl-0 = <&S12_6_spi_pin>;
		pinctrl-1 = <&S12_6_gpio_pin>;
		pinctrl-2 = <&S12_6_gpio_pu_pin>;
		pinctrl-3 = <&S12_6_gpio_pd_pin>;
		pinctrl-4 = <&S12_6_spi_pin>;
	};

};  /* END of ocp definitions */

/*******************************************************************************
*	PWMSS
*******************************************************************************/
&epwmss0 {
	status = "okay";
};

&epwmss1 {
	status = "okay";
};

&epwmss2 {
	status = "okay";
};

&ehrpwm0 {
	status = "okay";
};

&ehrpwm1 {
	pinctrl-names = "default";
	pinctrl-0 = <&ehrpwm1_pins>;
	status = "okay";
};

&ehrpwm2 {
	pinctrl-names = "default";
	pinctrl-0 = <&ehrpwm2_pins>;
	status = "okay";
};

&ecap0 { status="okay"; };
&ecap1 { status="okay"; };
&ecap2 { status="okay"; };

/*******************************************************************************
* EQEP
*******************************************************************************/
&eqep0 {
	pinctrl-names = "default";
	pinctrl-0 = <&eqep0_pins>;

	count_mode = <0>;  /* 0 - Quadrature mode, normal 90 phase offset cha & chb.  1 - Direction mode.  cha input = clock, chb input = direction */
	swap_inputs = <0>; /* Are channel A and channel B swapped? (0 - no, 1 - yes) */
	invert_qa = <1>;   /* Should we invert the channel A input?  */
	invert_qb = <1>;   /* Should we invert the channel B input? I invert these because my encoder outputs drive transistors that pull down the pins */
	invert_qi = <0>;   /* Should we invert the index input? */
	invert_qs = <0>;   /* Should we invert the strobe input? */
	status = "okay";
};

&eqep1 {
	pinctrl-names = "default";
	pinctrl-0 = <&eqep1_pins>;

	count_mode = <0>;  /* 0 - Quadrature mode, normal 90 phase offset cha & chb.  1 - Direction mode.  cha input = clock, chb input = direction */
	swap_inputs = <0>; /* Are channel A and channel B swapped? (0 - no, 1 - yes) */
	invert_qa = <1>;   /* Should we invert the channel A input?  */
	invert_qb = <1>;   /* Should we invert the channel B input? I invert these because my encoder outputs drive transistors that pull down the pins */
	invert_qi = <0>;   /* Should we invert the index input? */
	invert_qs = <0>;   /* Should we invert the strobe input? */
	status = "okay";
};

&eqep2 {
	pinctrl-names = "default";
	pinctrl-0 = <&eqep2_pins>;

	count_mode = <0>;  /* 0 - Quadrature mode, normal 90 phase offset cha & chb.  1 - Direction mode.  cha input = clock, chb input = direction */
	swap_inputs = <0>; /* Are channel A and channel B swapped? (0 - no, 1 - yes) */
	invert_qa = <1>;   /* Should we invert the channel A input?  */
	invert_qb = <1>;   /* Should we invert the channel B input? I invert these because my encoder outputs drive transistors that pull down the pins */
	invert_qi = <0>;   /* Should we invert the index input? */
	invert_qs = <0>;   /* Should we invert the strobe input? */
	status = "okay";
};

/*******************************************************************************
	SPI
*******************************************************************************/
&spi1 {

	#address-cells = <1>;
	#size-cells = <0>;
	status = "okay";

	channel@0 {
		#address-cells = <1>;
		#size-cells = <0>;
		compatible = "spidev";
		symlink = "spi/1.0";
		reg = <0>;
		spi-max-frequency = <24000000>;
	};

	channel@1 {
		#address-cells = <1>;
		#size-cells = <0>;
		compatible = "spidev";
		symlink = "spi/1.1";
		reg = <1>;
		spi-max-frequency = <24000000>;
	};
};
